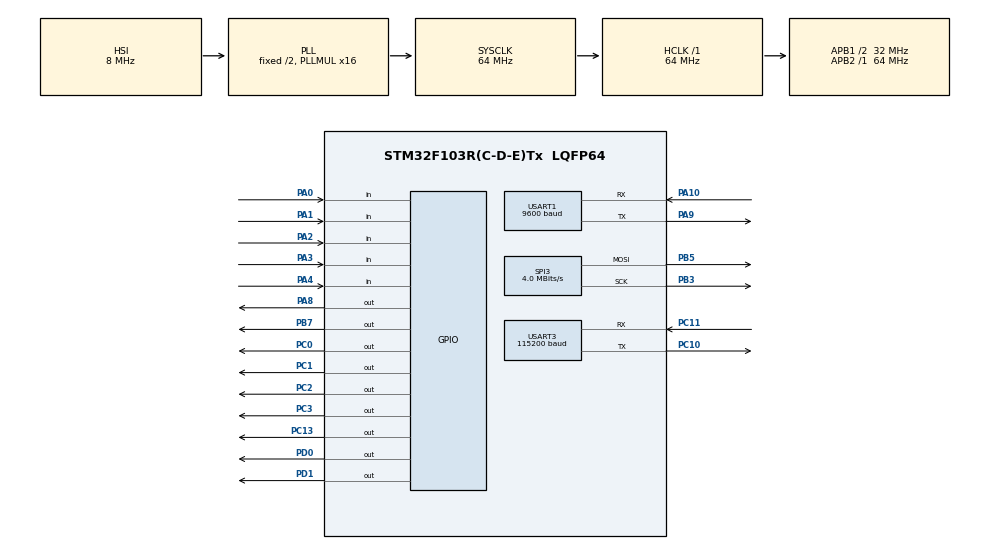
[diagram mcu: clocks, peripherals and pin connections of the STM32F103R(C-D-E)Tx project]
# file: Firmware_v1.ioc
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Mcu.Family=STM32F1
Mcu.Name=STM32F103R(C-D-E)Tx
Mcu.Package=LQFP64
NVIC.PriorityGroup=NVIC_PRIORITYGROUP_4
<<<<<<< Updated upstream
NVIC.TIM4_IRQn=true\:0\:0\:false\:false\:true\:true\:true
NVIC.USART1_IRQn=true\:0\:0\:false\:false\:true\:true\:true
=======
NVIC.TIM4_IRQn=true\:2\:0\:true\:false\:true\:true\:true
NVIC.TIM7_IRQn=true\:0\:0\:false\:false\:true\:true\:true
NVIC.USART1_IRQn=true\:1\:0\:true\:false\:true\:true\:true
>>>>>>> Stashed changes
NVIC.USART3_IRQn=true\:0\:0\:false\:false\:true\:true\:true
PA0-WKUP.GPIO_PuPd=GPIO_PULLUP
PA0-WKUP.Signal=GPIO_Input
PA1.GPIO_PuPd=GPIO_PULLUP
PA1.Signal=GPIO_Input
PA10.Mode=Asynchronous
PA10.Signal=USART1_RX
PA13.Mode=Serial_Wire
PA13.Signal=SYS_JTMS-SWDIO
PA14.Mode=Serial_Wire
PA14.Signal=SYS_JTCK-SWCLK
PA2.GPIO_PuPd=GPIO_PULLUP
PA2.Signal=GPIO_Input
PA3.GPIO_PuPd=GPIO_PULLUP
PA3.Signal=GPIO_Input
PA4.GPIO_PuPd=GPIO_PULLUP
PA4.Signal=GPIO_Input
PA8.GPIO_Speed=GPIO_SPEED_FREQ_HIGH
PA8.Signal=GPIO_Output
PA9.Mode=Asynchronous
PA9.Signal=USART1_TX
PB3.Mode=TX_Only_Simplex_Unidirect_Master
PB3.Signal=SPI3_SCK
PB5.Mode=TX_Only_Simplex_Unidirect_Master
PB5.Signal=SPI3_MOSI
PB7.GPIO_Speed=GPIO_SPEED_FREQ_HIGH
PB7.Signal=GPIO_Output
PC0.Signal=GPIO_Output
PC1.Signal=GPIO_Output
PC10.Mode=Asynchronous
PC10.Signal=USART3_TX
PC11.Mode=Asynchronous
PC11.Signal=USART3_RX
PC13-TAMPER-RTC.Signal=GPIO_Output
PC2.Signal=GPIO_Output
PC3.Signal=GPIO_Output
PD0-OSC_IN.Signal=GPIO_Output
PD1-OSC_OUT.Signal=GPIO_Output
ProjectManager.HeapSize=0x200
ProjectManager.StackSize=0x400
ProjectManager.TargetToolchain=STM32CubeIDE
RCC.AHBFreq_Value=64000000
RCC.APB1CLKDivider=RCC_HCLK_DIV2
RCC.APB1Freq_Value=32000000
RCC.APB1TimFreq_Value=64000000
RCC.APB2Freq_Value=64000000
RCC.APB2TimFreq_Value=64000000
RCC.HCLKFreq_Value=64000000
RCC.PLLMUL=RCC_PLL_MUL16
RCC.SYSCLKFreq_VALUE=64000000
RCC.SYSCLKSource=RCC_SYSCLKSOURCE_PLLCLK
RCC.USBFreq_Value=64000000
SPI3.BaudRatePrescaler=SPI_BAUDRATEPRESCALER_8
SPI3.CLKPolarity=SPI_POLARITY_HIGH
SPI3.CalculateBaudRate=4.0 MBits/s
SPI3.Direction=SPI_DIRECTION_2LINES
SPI3.Mode=SPI_MODE_MASTER
SPI3.VirtualType=VM_MASTER
TIM4.Period=1000-1
TIM4.Prescaler=6400-1
TIM7.Period=1000-1
TIM7.Prescaler=64000-1
USART1.BaudRate=9600
USART1.VirtualMode=VM_ASYNC
USART3.BaudRate=115200
USART3.VirtualMode=VM_ASYNC
VP_TIM4_VS_ClockSourceINT.Mode=Internal
VP_TIM7_VS_ClockSourceINT.Mode=Enable_Timer
board=custom

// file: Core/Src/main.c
/* USER CODE BEGIN Header */
/**
  ******************************************************************************
  * @file           : main.c
  * @brief          : Main program body
  ******************************************************************************
  * @attention
  *
  * Copyright (c) 2026 STMicroelectronics.
  * All rights reserved.
  *
  * This software is licensed under terms that can be found in the LICENSE file
  * in the root directory of this software component.
  * If no LICENSE file comes with this software, it is provided AS-IS.
  *
  ******************************************************************************
  */
/* USER CODE END Header */
#include "main.h"

/* USER CODE BEGIN PTD */
typedef enum {
    READY1,
    TRANS1,
	RECEIVE1,
    READY2,
	TRANS2,
	RECEIVE2,
	DONE_
} STATE_TX;

typedef enum {
    BEGIN,
    CMD,
	END
} STATE_V1;
STATE_V1 state_v1 = BEGIN;

typedef enum {
  CK_77,
  CK_0D,
  CK_00,
  CK_84,
  READ_X1,
  READ_X2,
  READ_X3,
  READ_Y1,
  READ_Y2,
  READ_Y3,
  READ_Z1,
  READ_Z2,
  READ_Z3,
  CHECKSUM
} IMU_STATE_t;

// PC IOmemoryMap
enum{
	// # float variables = 32
	HoldingReg00_L, // float f0
	HoldingReg00_H,
	HoldingReg01_L, // float f1
	HoldingReg01_H,
	HoldingReg02_L, // float f2
	HoldingReg02_H,
	HoldingReg03_L, // float f3
	HoldingReg03_H,
	HoldingReg04_L, // float f4
	HoldingReg04_H,
	HoldingReg05_L, // float f5
	HoldingReg05_H,
	HoldingReg06_L, // float f6
	HoldingReg06_H,
	HoldingReg07_L, // float f7
	HoldingReg07_H,
	HoldingReg08_L, // float f8
	HoldingReg08_H,
	HoldingReg09_L,	// float f9
	HoldingReg09_H,
	HoldingReg10_L, // float f10
	HoldingReg10_H,
	HoldingReg11_L, // float f11
	HoldingReg11_H,
	HoldingReg12_L, // float f12
	HoldingReg12_H,
	HoldingReg13_L, // float f13
	HoldingReg13_H,
	HoldingReg14_L, // float f14
	HoldingReg14_H,
	HoldingReg15_L, // float f15
	HoldingReg15_H,
	HoldingReg16_L, // float f16
	HoldingReg16_H,
	HoldingReg17_L, // float f17
	HoldingReg17_H,
	HoldingReg18_L, // float f18
	HoldingReg18_H,
	HoldingReg19_L, // float f19
	HoldingReg19_H,
	HoldingReg20_L, // float f20
	HoldingReg20_H,
	HoldingReg21_L, // float f21
	HoldingReg21_H,
	HoldingReg22_L, // float f22
	HoldingReg22_H,
	HoldingReg23_L, // float f23
	HoldingReg23_H,
	HoldingReg24_L, // float f24
	HoldingReg24_H,
	HoldingReg25_L, // float f25
	HoldingReg25_H,
	HoldingReg26_L, // float f26
	HoldingReg26_H,
	HoldingReg27_L, // float f27
	HoldingReg27_H,

	IMUAngle_L,		// float f28
	IMUAngle_H,

	KpCoeffReg_L, // float f29
	KpCoeffReg_H,

	KdCoeffReg_L, // float f30
	KdCoeffReg_H,

	KiCoeffReg_L, // float f31
	KiCoeffReg_H,

	DACPrecisionAzimuthReg_L,	// float32
	DACPrecisionAzimuthReg_H,

	DACPrecisionElevationReg_L,	// float33
	DACPrecisionElevationReg_H,

	DACCoarseAzimuthReg_L,	// float 34
	DACCoarseAzimuthReg_H,

	DACCoarseElevationReg_L,	// float 35
	DACCoarseElevationReg_H,

	// # uint16_t variables = 16
	HoldingReg32,  // int16_t i16_0
	HoldingReg33,  // int16_t i16_1
	HoldingReg34,  // int16_t i16_2
	HoldingReg35,  // int16_t i16_3
	HoldingReg36,  // int16_t i16_4
	HoldingReg37,  // int16_t i16_6
	HoldingReg38,  // int16_t i16_7
	HoldingReg39,  // int16_t i16_8
	HoldingReg40,  // int16_t i16_9
	HoldingReg41,  // int16_t i16_10
	HoldingReg42,  // int16_t i16_11
	HoldingReg43,  // int16_t i16_12
	HoldingReg44,  // int16_t i16_13
	HoldingReg45,  // int16_t i16_14
	HoldingReg46,  // int16_t i16_15

	PrecisionValveRelay,
	CoarseValveRelay,

	ClutchRelay,

	ButtonManual,
	ButtonAzimuthUp,
	ButtonAzimuthDown,
	ButtonElevationUp,
	ButtonElevationDown,

	HoldingRegSize
};

typedef struct {
	uint16_t HoldingReg00_L;	// float 0
	uint16_t HoldingReg00_H;
	uint16_t HoldingReg01_L;	// float 1
	uint16_t HoldingReg01_H;
	uint16_t HoldingReg02_L;	// float 2
	uint16_t HoldingReg02_H;
	uint16_t HoldingReg03_L;	// float 3
	uint16_t HoldingReg03_H;
	uint16_t HoldingReg04_L;	// float 4
	uint16_t HoldingReg04_H;
	uint16_t HoldingReg05_L;	// float 5
	uint16_t HoldingReg05_H;
	uint16_t HoldingReg06_L;	// float 6
	uint16_t HoldingReg06_H;
	uint16_t HoldingReg07_L;	// float 7
	uint16_t HoldingReg07_H;
	uint16_t HoldingReg08_L;	// float 8
	uint16_t HoldingReg08_H;
	uint16_t HoldingReg09_L;	// float 9
	uint16_t HoldingReg09_H;
	uint16_t HoldingReg10_L;	// float 10
	uint16_t HoldingReg10_H;
	uint16_t HoldingReg11_L;	// float 11
	uint16_t HoldingReg11_H;
	uint16_t HoldingReg12_L;	// float 12
	uint16_t HoldingReg12_H;
	uint16_t HoldingReg13_L;	// float 13
	uint16_t HoldingReg13_H;
	uint16_t HoldingReg14_L;	// float 14
	uint16_t HoldingReg14_H;
	uint16_t HoldingReg15_L;	// float 15
	uint16_t HoldingReg15_H;
	uint16_t HoldingReg16_L;	// float 16
	uint16_t HoldingReg16_H;
	uint16_t HoldingReg17_L;	// float 17
	uint16_t HoldingReg17_H;
	uint16_t HoldingReg18_L;	// float 18
	uint16_t HoldingReg18_H;
	uint16_t HoldingReg19_L;	// float 19
	uint16_t HoldingReg19_H;
	uint16_t HoldingReg20_L;	// float 20
	uint16_t HoldingReg20_H;
	uint16_t HoldingReg21_L;	// float 21
	uint16_t HoldingReg21_H;
	uint16_t HoldingReg22_L;	// float 22
	uint16_t HoldingReg22_H;
	uint16_t HoldingReg23_L;	// float 23
	uint16_t HoldingReg23_H;
	uint16_t HoldingReg24_L;	// float 24
	uint16_t HoldingReg24_H;
	uint16_t HoldingReg25_L;	// float 25
	uint16_t HoldingReg25_H;
	uint16_t HoldingReg26_L;	// float 26
	uint16_t HoldingReg26_H;
	uint16_t HoldingReg27_L;	// float 27
	uint16_t HoldingReg27_H;

	float IMUAngle;	// float 28

	float KpCoeffReg;	// float 29
	float KiCoeffReg;	// float 30
	float KdCoeffReg;	// float 31

	float DACPrecisionAzimuthReg;	// float 32
	float DACPrecisionElevationReg;	// float 33
	float DACCoarseAzimuthReg;	// float 34
	float DACCoarseElevationReg;	// float 35

	uint16_t HoldingReg32;
	uint16_t HoldingReg33;
	uint16_t HoldingReg34;
	uint16_t HoldingReg35;
	uint16_t HoldingReg36;
	uint16_t HoldingReg37;
	uint16_t HoldingReg38;
	uint16_t HoldingReg39;
	uint16_t HoldingReg40;
	uint16_t HoldingReg41;
	uint16_t HoldingReg42;
	uint16_t HoldingReg43;
	uint16_t HoldingReg44;
	uint16_t HoldingReg45;
	uint16_t HoldingReg46;

	uint16_t PercisionValveRelay;
	uint16_t CoarseValveRelay;
	uint16_t ClutchRelay;
	uint16_t ButtonManual;
	uint16_t ButtonAzimuthUp;
	uint16_t ButtonAzimuthDown;
	uint16_t ButtonElevationUp;
	uint16_t ButtonElevationDown;
} IO_MemoryMap_Struct_t;

typedef union {
	uint16_t Array[HoldingRegSize];
	IO_MemoryMap_Struct_t Named;
} IO_MemoryMap_Union_t;
/* USER CODE END PTD */

/* USER CODE BEGIN PD */
#define IMU_query_len 5
#define BoardID  45
/* USER CODE END PD */

/* USER CODE BEGIN PM */
// #define _RET(fval,idx) fval = (float*)IO_MemoryMap[idx])
// #define _WRT(idx, fval) {IO_MemoryMap[idx]= (uint16_t*)fval[0];IO_MemoryMap[idx]= (uint16_t*)fval[1]}
/* USER CODE END PM */

SPI_HandleTypeDef hspi3;

TIM_HandleTypeDef htim4;
TIM_HandleTypeDef htim7;

UART_HandleTypeDef huart1;
UART_HandleTypeDef huart3;

/* USER CODE BEGIN PV */
IO_MemoryMap_Union_t IO_MemoryMap_Data;
//uint16_t IO_MemoryMap[HoldingRegSize];
#define BUFFER_SIZE 128
uint8_t ModbusFrame[BUFFER_SIZE];
uint8_t frame[BUFFER_SIZE];
uint8_t idx;
uint16_t bufferIdx = 0;
float f0 = 3.14;
float f1;
uint8_t us_data;
uint8_t cmd;
bool cmd_flag;
uint8_t ack = 0x24;
uint8_t res[6] = {0x42, 0x20, 0x00, 0x00, 0xff, 0x45};
/* Khai báo mảng 8 byte */
uint8_t frame_8byte[8] = {0xAA, 0x01, 0x02, 0x03, 0x04, 0x05, 0x06, 0x16};

// const uint8_t IMU_query[IMU_query_len] = {0x77, 0x04, 0x00, 0x04, 0x08};
uint8_t IMU_RxData;

uint32_t cnt;
uint8_t csm;
int32_t Ang_curr;
int32_t Ang_old;
int32_t Denta_Ang;
int32_t IMU_Angle;

/* USER CODE END PV */

void SystemClock_Config(void);
static void MX_GPIO_Init(void);
static void MX_SPI3_Init(void);
static void MX_TIM4_Init(void);
static void MX_USART1_UART_Init(void);
static void MX_USART3_UART_Init(void);
static void MX_TIM7_Init(void);
/* USER CODE BEGIN PFP */
void DAC7716_Write(uint8_t ID, uint16_t Data12bit);
void DAC7716_SetVol(float Voltage, uint8_t ID);

// Utility
void  _RET(float* fval, uint16_t idx);
void _WRT(uint16_t idx, float* fval);

// Ouput_Relay
void Relay_Update(uint16_t *pMap);
void Relay_init(void);

//Btn
void Btn_Update(uint16_t *pMap);

/* USER CODE END PFP */

/* USER CODE BEGIN 0 */
void DAC7716_Write(uint8_t ID, uint16_t Data12bit){
	uint8_t S_Data[3];

	S_Data[0] = ID;
	S_Data[1] = (uint8_t)(Data12bit>>4); // Lay 8 bit cao
	S_Data[2] = (uint8_t)(Data12bit);    // Lay 4 bit thap dich trai

	HAL_GPIO_WritePin(GPIOB,GPIO_PIN_7,GPIO_PIN_RESET);
	HAL_SPI_Transmit(&hspi3,S_Data,3,100);
	HAL_GPIO_WritePin(GPIOB,GPIO_PIN_7,GPIO_PIN_SET);
}

void DAC7716_SetVol(float Voltage, uint8_t DACchannel){

	int16_t u16Val;
	int16_t i16Val;

	/* Saturated Value*/
	if(Voltage > 10.0) Voltage = 10.0;
	if(Voltage <-10.0) Voltage = -10.0;

	// Code = (Vout+10)*(4095/20)
	//Code = (uint16_t)((Voltage + 10)*(204.75));

	/* Normalised to i16*/
	// Code = Voltage/(0.5*4*5)*2047;
	i16Val = (int16_t) (Voltage/(10.0)*2047);

	/* Convert int16_t to uint16_t*/
	if(i16Val<0) {
		u16Val = i16Val + 0x8000;
	}else {
		u16Val = i16Val;
	}

	/* Write to DAC7716*/
	DAC7716_Write(DACchannel, u16Val);
}

void HAL_TIM_PeriodElapsedCallback(TIM_HandleTypeDef *htim){     // every 100ms

	const uint8_t IMU_query[IMU_query_len] = {0x77, 0x04, 0x00, 0x04, 0x08};
	if (htim->Instance == TIM4){
		HAL_GPIO_WritePin(GPIOA, GPIO_PIN_8, 1);
		HAL_UART_Transmit_IT(&huart1, IMU_query, 5);
		HAL_GPIO_WritePin(GPIOA, GPIO_PIN_8, 0);
//
//	    Denta_Ang = Ang_curr - Ang_old;
//	    Ang_old = Ang_curr;
//	    if (Denta_Ang >= -36000 && Denta_Ang < -18000){
//	      IMU_Angle += (Denta_Ang + 36000);
//	    }
//	    else if (Denta_Ang >= -18000 && Denta_Ang <= 18000){
//	    	IMU_Angle += Denta_Ang;
//	    }
//	    else if (Denta_Ang > 18000 && Denta_Ang <= 36000){
//	    	IMU_Angle -= (36000 - Denta_Ang);
//	    }
//	    IO_MemoryMap_Data.Named.IMUAngle = IMU_Angle;
		IO_MemoryMap_Data.Named.IMUAngle += 1;

	}
	if (htim->Instance == TIM7){
	  IO_MemoryMap_Data.Named.ButtonAzimuthDown = !IO_MemoryMap_Data.Named.ButtonAzimuthDown;
	  IO_MemoryMap_Data.Named.ButtonAzimuthUp = !IO_MemoryMap_Data.Named.ButtonAzimuthUp;
	  IO_MemoryMap_Data.Named.ButtonElevationDown = !IO_MemoryMap_Data.Named.ButtonElevationDown;
	  IO_MemoryMap_Data.Named.ButtonElevationUp = !IO_MemoryMap_Data.Named.ButtonElevationUp;
	  IO_MemoryMap_Data.Named.ButtonManual = !IO_MemoryMap_Data.Named.ButtonManual;
	}
}
/* Xu ly ngăt nhan RS485 tung byte trong chuoi
 * */
void HAL_UART_RxCpltCallback(UART_HandleTypeDef *huart){

	if (huart->Instance == USART1){

		static IMU_STATE_t state = CK_77;
		static uint8_t chksum = 0;
		static uint8_t byte1, byte2, byte3;
		HAL_UART_Receive_IT(&huart1, &IMU_RxData, 1);
		switch (state)
		  {
		  case CK_77:
		    if (IMU_RxData == 0x77)
		    {
		      state = CK_0D;
		    }
		    break;
		  case CK_0D:
		    if (IMU_RxData == 0x0D)
		    {
		    	chksum += IMU_RxData;
		      state = CK_00;
		    }
		    else
		    {
		      state = CK_77;
		    }
		    break;
		  case CK_00:
		    if (IMU_RxData == 0x00)
		    {
		    	chksum += IMU_RxData;
		      state = CK_84;
		    }
		    else
		    {
		      state = CK_77;
		    }
		    break;
		  case CK_84:
		    if (IMU_RxData == 0x84)
		    {
		    	chksum += IMU_RxData;
		      state = READ_X1;
		    }
		    else
		    {
		      state = CK_77;
		    }
		    break;
		  case READ_X1:
		    state = READ_X2;
		    chksum += IMU_RxData;
		    break;
		  case READ_X2:
		    state = READ_X3;
		    chksum += IMU_RxData;
		    break;
		  case READ_X3:
		    state = READ_Y1;
		    chksum += IMU_RxData;
		    break;
		  case READ_Y1:
		    state = READ_Y2;
		    chksum += IMU_RxData;
		    break;
		  case READ_Y2:
		    state = READ_Y3;
		    chksum += IMU_RxData;
		    break;
		  case READ_Y3:
		    state = READ_Z1;
		    chksum += IMU_RxData;
		    break;
		  case READ_Z1:
		    byte1 = IMU_RxData;
		    chksum += IMU_RxData;
		    //        Ang_curr = (RxData & 0x0F) * 10000;
		    state = READ_Z2;
		    break;
		  case READ_Z2:
		    byte2 = IMU_RxData;
		    chksum += IMU_RxData;
		    //        Ang_curr += ((RxData & 0xF0) >> 4) * 1000;
		    //        Ang_curr += (RxData & 0x0F) * 100;
		    state = READ_Z3;
		    break;
		  case READ_Z3:
		    byte3 = IMU_RxData;
		    chksum += IMU_RxData;
		    //        Ang_curr += ((RxData & 0xF0) >> 4) * 10;
		    //        Ang_curr += (RxData & 0x0F);
		    state = CHECKSUM;
		    break;
		  case CHECKSUM:
		    if (IMU_RxData == chksum)
		    {
		      cnt++;
		      Ang_curr = (byte1 & 0x0F) * 10000;
		      Ang_curr += ((byte2 & 0xF0) >> 4) * 1000;
		      Ang_curr += (byte2 & 0x0F) * 100;
		      Ang_curr += ((byte3 & 0xF0) >> 4) * 10;
		      Ang_curr += (byte3 & 0x0F);
		      chksum = 0;
		    }
		    state = CK_77;
		    break;
		  default:
		    break;
		  }
	}
}
//void  _RET(float* fval, uint16_t idx){
//	*fval = *(float*)(&IO_MemoryMap[idx]);
//}
//void _WRT(uint16_t idx, float* fval){
//	uint16_t* pi16 = (uint16_t*)fval;
//	IO_MemoryMap[idx]= *pi16;
//	IO_MemoryMap[idx+1]= *(pi16+1);
//}
void HAL_UARTEx_RxEventCallback(UART_HandleTypeDef *huart, uint16_t Size)
{
	bufferIdx = Size;
  HAL_UARTEx_ReceiveToIdle_IT(&huart3, frame, BUFFER_SIZE);
}
void HAL_UART_ErrorCallback(UART_HandleTypeDef *huart) {
    if (huart->Instance == USART3) {
        HAL_UARTEx_ReceiveToIdle_IT(huart, frame, BUFFER_SIZE);
    }
}
void Relay_Update(uint16_t *pMap){
	static uint8_t bitOld[4] = {0,0,0,0};
	uint8_t bit_tmp;

	bit_tmp = pMap[ClutchRelay];
	if(bit_tmp != bitOld[0]){
		bitOld[0] = bit_tmp;
		if(bit_tmp) CLUTCH_RELAY_ON;
		else CLUTCH_RELAY_OFF;
	}

	bit_tmp = pMap[PrecisionValveRelay];
	if(bit_tmp != bitOld[2]){
		bitOld[2] = bit_tmp;
		if(bit_tmp) PRE_VALVE_RELAY_ON;
		else PRE_VALVE_RELAY_OFF;
	}

	bit_tmp = pMap[CoarseValveRelay];
	if(bit_tmp != bitOld[3]){
		bitOld[3] = bit_tmp;
		if(bit_tmp) COA_VALVE_RELAY_ON;
		else COA_VALVE_RELAY_OFF;
	}
}
void Btn_Update(uint16_t *pMap){
	pMap[ButtonManual] = BTN_MANUAL_READ;
	pMap[ButtonElevationUp] = BTN_ELEVATION_UP_READ;
	pMap[ButtonElevationDown] = BTN_ELEVATION_DOWN_READ;
	pMap[ButtonAzimuthUp] = BTN_AZIMUTH_UP_READ;
	pMap[ButtonAzimuthDown] = BTN_AZIMUTH_DOWN_READ;
}
void Relay_init(){
	CLUTCH_RELAY_OFF;
	PRE_VALVE_RELAY_OFF;
	COA_VALVE_RELAY_OFF;
}
float PID(IO_MemoryMap_Struct_t Named, float angle, float angle_real){
	static float ek_1, ek_2, Ik_1;
	float Kp = Named.KpCoeffReg;
	float Ki = Named.KiCoeffReg;
	float Kd = Named.KdCoeffReg;

	float ek = angle - angle_real;

	float Pk = Kp*ek;
	float Ik = Ik_1 + Ki*(ek+ek_1)/2;
	float Dk = Kd*(3*ek-4*ek_1+ek_2);

	ek_2 = ek_1;
	ek_1 = ek;

	Ik_1 = Ik;

	return Pk + Ik + Dk;
}
/* USER CODE END 0 */

int main(void)
{

  /* MCU Configuration--------------------------------------------------------*/

  /* Reset of all peripherals, Initializes the Flash interface and the Systick. */
  HAL_Init();

  /* Configure the system clock */
  SystemClock_Config();

  /* Initialize all configured peripherals */
  MX_GPIO_Init();
  MX_SPI3_Init();
  MX_TIM4_Init();
  MX_USART1_UART_Init();
  MX_USART3_UART_Init();
  MX_TIM7_Init();
  /* USER CODE BEGIN 2 */
  HAL_TIM_Base_Start_IT(&htim4);
  HAL_TIM_Base_Start_IT(&htim7);
  HAL_UART_Receive_IT(&huart1, &IMU_RxData, 1);

//  HAL_UART_Receive_IT(&huart3, &us_data, 1);
  Relay_init();

  modbus_configure(&huart3, BoardID, HoldingRegSize, 0);
  HAL_UARTEx_ReceiveToIdle_IT(&huart3, frame, BUFFER_SIZE );
  /* USER CODE END 2 */

  /* Infinite loop */
  while (1)
  {

    /* USER CODE BEGIN 3 */
	  modbus_update(&huart3, IO_MemoryMap_Data.Array);

	  Relay_Update(IO_MemoryMap_Data.Array);
//	  Btn_Update(IO_MemoryMap_Data.Array);

	  HAL_GPIO_TogglePin(GPIOC, GPIO_PIN_13);
//	  HAL_Delay(500);
	  DAC7716_SetVol(-9.5,0x04);  //day buoc
//	  DAC7716_SetVol(-8.5,0x05);
//	  DAC7716_SetVol(-7.5,0x06);
//	  DAC7716_SetVol(-6.5,0x07);
//	  HAL_GPIO_TogglePin(GPIOC, GPIO_PIN_3);
//
//	  HAL_GPIO_TogglePin(GPIOC, GPIO_PIN_2);
//
//	  HAL_GPIO_TogglePin(GPIOC, GPIO_PIN_1);
//
//	  HAL_GPIO_TogglePin(GPIOC, GPIO_PIN_0);
//
//	  HAL_GPIO_TogglePin(GPIOD, GPIO_PIN_1);
//
//	  HAL_GPIO_TogglePin(GPIOD, GPIO_PIN_0);
//

//
//	  _RET(&f0,HoldingReg00_L);
//	  _WRT(HoldingReg01_L, &f1);

//	  if(cmd_flag){
//		  cmd_flag = false;
//		  if(cmd == 0x01){
//			  HAL_UART_Transmit(&huart3, &ack, 1, 100);
//		  }
//		  else if(cmd == 0x00){
//			  HAL_UART_Transmit(&huart3, &ack, 1, 100);
//		  }
//		  else if(cmd == 0x96){
//			  HAL_UART_Transmit(&huart3, &ack, 1, 100);
//		  }
//		  else if(cmd == 0x02){
//			  HAL_UART_Transmit(&huart3, res, 6, 100);
//			  res[2] += 1;
//			  res[3] += 1;
//			  res[4] -= 1;
//		  }
//	  }

  }
  /* USER CODE END 3 */
}

void SystemClock_Config(void)
{
  RCC_OscInitTypeDef RCC_OscInitStruct = {0};
  RCC_ClkInitTypeDef RCC_ClkInitStruct = {0};

  /** Initializes the RCC Oscillators according to the specified parameters
  * in the RCC_OscInitTypeDef structure.
  */
  RCC_OscInitStruct.OscillatorType = RCC_OSCILLATORTYPE_HSI;
  RCC_OscInitStruct.HSIState = RCC_HSI_ON;
  RCC_OscInitStruct.HSICalibrationValue = RCC_HSICALIBRATION_DEFAULT;
  RCC_OscInitStruct.PLL.PLLState = RCC_PLL_ON;
  RCC_OscInitStruct.PLL.PLLSource = RCC_PLLSOURCE_HSI_DIV2;
  RCC_OscInitStruct.PLL.PLLMUL = RCC_PLL_MUL16;
  if (HAL_RCC_OscConfig(&RCC_OscInitStruct) != HAL_OK)
  {
    Error_Handler();
  }
  /** Initializes the CPU, AHB and APB buses clocks
  */
  RCC_ClkInitStruct.ClockType = RCC_CLOCKTYPE_HCLK|RCC_CLOCKTYPE_SYSCLK
                              |RCC_CLOCKTYPE_PCLK1|RCC_CLOCKTYPE_PCLK2;
  RCC_ClkInitStruct.SYSCLKSource = RCC_SYSCLKSOURCE_PLLCLK;
  RCC_ClkInitStruct.AHBCLKDivider = RCC_SYSCLK_DIV1;
  RCC_ClkInitStruct.APB1CLKDivider = RCC_HCLK_DIV2;
  RCC_ClkInitStruct.APB2CLKDivider = RCC_HCLK_DIV1;

  if (HAL_RCC_ClockConfig(&RCC_ClkInitStruct, FLASH_LATENCY_2) != HAL_OK)
  {
    Error_Handler();
  }
}

static void MX_SPI3_Init(void)
{

  /* SPI3 parameter configuration*/
  hspi3.Instance = SPI3;
  hspi3.Init.Mode = SPI_MODE_MASTER;
  hspi3.Init.Direction = SPI_DIRECTION_2LINES;
  hspi3.Init.DataSize = SPI_DATASIZE_8BIT;
  hspi3.Init.CLKPolarity = SPI_POLARITY_HIGH;
  hspi3.Init.CLKPhase = SPI_PHASE_1EDGE;
  hspi3.Init.NSS = SPI_NSS_SOFT;
  hspi3.Init.BaudRatePrescaler = SPI_BAUDRATEPRESCALER_8;
  hspi3.Init.FirstBit = SPI_FIRSTBIT_MSB;
  hspi3.Init.TIMode = SPI_TIMODE_DISABLE;
  hspi3.Init.CRCCalculation = SPI_CRCCALCULATION_DISABLE;
  hspi3.Init.CRCPolynomial = 10;
  if (HAL_SPI_Init(&hspi3) != HAL_OK)
  {
    Error_Handler();
  }

}

static void MX_TIM4_Init(void)
{

  TIM_ClockConfigTypeDef sClockSourceConfig = {0};
  TIM_MasterConfigTypeDef sMasterConfig = {0};

  htim4.Instance = TIM4;
  htim4.Init.Prescaler = 6400-1;
  htim4.Init.CounterMode = TIM_COUNTERMODE_UP;
  htim4.Init.Period = 1000-1;
  htim4.Init.ClockDivision = TIM_CLOCKDIVISION_DIV1;
  htim4.Init.AutoReloadPreload = TIM_AUTORELOAD_PRELOAD_DISABLE;
  if (HAL_TIM_Base_Init(&htim4) != HAL_OK)
  {
    Error_Handler();
  }
  sClockSourceConfig.ClockSource = TIM_CLOCKSOURCE_INTERNAL;
  if (HAL_TIM_ConfigClockSource(&htim4, &sClockSourceConfig) != HAL_OK)
  {
    Error_Handler();
  }
  sMasterConfig.MasterOutputTrigger = TIM_TRGO_RESET;
  sMasterConfig.MasterSlaveMode = TIM_MASTERSLAVEMODE_DISABLE;
  if (HAL_TIMEx_MasterConfigSynchronization(&htim4, &sMasterConfig) != HAL_OK)
  {
    Error_Handler();
  }

}

static void MX_TIM7_Init(void)
{

  TIM_MasterConfigTypeDef sMasterConfig = {0};

  htim7.Instance = TIM7;
  htim7.Init.Prescaler = 64000-1;
  htim7.Init.CounterMode = TIM_COUNTERMODE_UP;
  htim7.Init.Period = 1000-1;
  htim7.Init.AutoReloadPreload = TIM_AUTORELOAD_PRELOAD_DISABLE;
  if (HAL_TIM_Base_Init(&htim7) != HAL_OK)
  {
    Error_Handler();
  }
  sMasterConfig.MasterOutputTrigger = TIM_TRGO_RESET;
  sMasterConfig.MasterSlaveMode = TIM_MASTERSLAVEMODE_DISABLE;
  if (HAL_TIMEx_MasterConfigSynchronization(&htim7, &sMasterConfig) != HAL_OK)
  {
    Error_Handler();
  }

}

static void MX_USART1_UART_Init(void)
{

  huart1.Instance = USART1;
  huart1.Init.BaudRate = 9600;
  huart1.Init.WordLength = UART_WORDLENGTH_8B;
  huart1.Init.StopBits = UART_STOPBITS_1;
  huart1.Init.Parity = UART_PARITY_NONE;
  huart1.Init.Mode = UART_MODE_TX_RX;
  huart1.Init.HwFlowCtl = UART_HWCONTROL_NONE;
  huart1.Init.OverSampling = UART_OVERSAMPLING_16;
  if (HAL_UART_Init(&huart1) != HAL_OK)
  {
    Error_Handler();
  }

}

static void MX_USART3_UART_Init(void)
{

  huart3.Instance = USART3;
  huart3.Init.BaudRate = 9600;
  huart3.Init.WordLength = UART_WORDLENGTH_8B;
  huart3.Init.StopBits = UART_STOPBITS_1;
  huart3.Init.Parity = UART_PARITY_NONE;
  huart3.Init.Mode = UART_MODE_TX_RX;
  huart3.Init.HwFlowCtl = UART_HWCONTROL_NONE;
  huart3.Init.OverSampling = UART_OVERSAMPLING_16;
  if (HAL_UART_Init(&huart3) != HAL_OK)
  {
    Error_Handler();
  }

}

static void MX_GPIO_Init(void)
{
  GPIO_InitTypeDef GPIO_InitStruct = {0};

  /* GPIO Ports Clock Enable */
  __HAL_RCC_GPIOC_CLK_ENABLE();
  __HAL_RCC_GPIOD_CLK_ENABLE();
  __HAL_RCC_GPIOA_CLK_ENABLE();
  __HAL_RCC_GPIOB_CLK_ENABLE();

  /*Configure GPIO pin Output Level */
  HAL_GPIO_WritePin(GPIOC, GPIO_PIN_13|GPIO_PIN_0|GPIO_PIN_1|GPIO_PIN_2
                          |GPIO_PIN_3, GPIO_PIN_RESET);

  /*Configure GPIO pin Output Level */
  HAL_GPIO_WritePin(GPIOD, GPIO_PIN_0|GPIO_PIN_1, GPIO_PIN_RESET);

  /*Configure GPIO pin Output Level */
  HAL_GPIO_WritePin(GPIOA, GPIO_PIN_8, GPIO_PIN_RESET);

  /*Configure GPIO pin Output Level */
  HAL_GPIO_WritePin(GPIOB, GPIO_PIN_7, GPIO_PIN_RESET);

  /*Configure GPIO pins : PC13 PC0 PC1 PC2
                           PC3 */
  GPIO_InitStruct.Pin = GPIO_PIN_13|GPIO_PIN_0|GPIO_PIN_1|GPIO_PIN_2
                          |GPIO_PIN_3;
  GPIO_InitStruct.Mode = GPIO_MODE_OUTPUT_PP;
  GPIO_InitStruct.Pull = GPIO_NOPULL;
  GPIO_InitStruct.Speed = GPIO_SPEED_FREQ_LOW;
  HAL_GPIO_Init(GPIOC, &GPIO_InitStruct);

  /*Configure GPIO pins : PD0 PD1 */
  GPIO_InitStruct.Pin = GPIO_PIN_0|GPIO_PIN_1;
  GPIO_InitStruct.Mode = GPIO_MODE_OUTPUT_PP;
  GPIO_InitStruct.Pull = GPIO_NOPULL;
  GPIO_InitStruct.Speed = GPIO_SPEED_FREQ_LOW;
  HAL_GPIO_Init(GPIOD, &GPIO_InitStruct);

  /*Configure GPIO pins : PA0 PA1 PA2 PA3
                           PA4 */
  GPIO_InitStruct.Pin = GPIO_PIN_0|GPIO_PIN_1|GPIO_PIN_2|GPIO_PIN_3
                          |GPIO_PIN_4;
  GPIO_InitStruct.Mode = GPIO_MODE_INPUT;
  GPIO_InitStruct.Pull = GPIO_PULLUP;
  HAL_GPIO_Init(GPIOA, &GPIO_InitStruct);

  /*Configure GPIO pin : PA8 */
  GPIO_InitStruct.Pin = GPIO_PIN_8;
  GPIO_InitStruct.Mode = GPIO_MODE_OUTPUT_PP;
  GPIO_InitStruct.Pull = GPIO_NOPULL;
  GPIO_InitStruct.Speed = GPIO_SPEED_FREQ_HIGH;
  HAL_GPIO_Init(GPIOA, &GPIO_InitStruct);

  /*Configure GPIO pin : PB7 */
  GPIO_InitStruct.Pin = GPIO_PIN_7;
  GPIO_InitStruct.Mode = GPIO_MODE_OUTPUT_PP;
  GPIO_InitStruct.Pull = GPIO_NOPULL;
  GPIO_InitStruct.Speed = GPIO_SPEED_FREQ_HIGH;
  HAL_GPIO_Init(GPIOB, &GPIO_InitStruct);

  /*Configure peripheral I/O remapping */
  __HAL_AFIO_REMAP_PD01_ENABLE();

}

void Error_Handler(void)
{
  __disable_irq();
  while (1)
  {
  }
}
